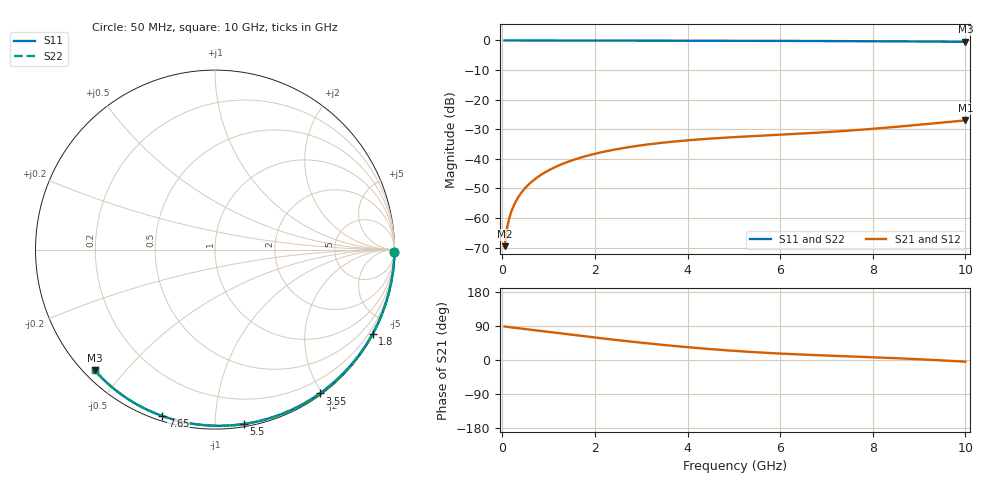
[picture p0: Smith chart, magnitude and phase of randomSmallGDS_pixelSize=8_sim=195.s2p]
! freq	dB(S11)	phase(S11)	dB(S12)	phase(S12)
!  dB(S21)	phase(S21)	dB(S22)	phase(S22)
!S-par simulation data
#  GHz  S  DB  R 50
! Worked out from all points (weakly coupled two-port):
!   200 points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, 50 MHz to 10 GHz, reference 50 ohm
!   highest |S21| = -27.00 dB at 10 GHz (marker M1); lowest = -69.5 dB at 50 MHz (marker M2)
!   lowest |S11| = -0.4 dB at 10 GHz (marker M3), VSWR 38.69, Z = 1.52 - j20.8 ohm
!   |S11| at or under -10 dB: nowhere
!   |S22| runs from -0.4 to 0.0 dB; largest |S21 - S12| = 0
!   S11 on the Smith chart (normalised r, x): 50 MHz: open; 1.8 GHz: 0.04, -4.01; 3.55 GHz: 0.02, -1.97; 5.5 GHz: 0.02, -1.18; 7.65 GHz: 0.02, -0.73; 10 GHz: 0.03, -0.42
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0.05  -0.00 -0.8  -69.50 88.7  -69.50 88.7  -0.00 -0.8
0.1  -0.00 -1.6  -63.54 87.6  -63.54 87.6  -0.00 -1.6
0.15  -0.00 -2.4  -60.07 86.7  -60.07 86.7  -0.00 -2.4
0.2  -0.00 -3.2  -57.62 85.9  -57.62 85.9  -0.00 -3.2
0.25  -0.00 -4.0  -55.71 85.2  -55.71 85.2  -0.00 -4.0
0.35  -0.00 -5.5  -52.83 83.8  -52.83 83.8  -0.00 -5.5
0.5  -0.01 -7.9  -49.77 81.6  -49.77 81.6  -0.01 -7.9
0.7  -0.01 -11.0  -46.90 78.6  -46.90 78.6  -0.01 -11.0
1  -0.02 -15.7  -43.88 74.1  -43.88 74.1  -0.02 -15.7
1.35  -0.03 -21.1  -41.40 68.9  -41.40 68.9  -0.03 -21.1
1.75  -0.03 -27.2  -39.32 62.9  -39.32 62.9  -0.03 -27.2
1.8  -0.04 -28.0  -39.10 62.2  -39.10 62.2  -0.04 -28.0
2.5  -0.05 -38.6  -36.65 52.3  -36.65 52.3  -0.05 -38.5
3.4  -0.07 -51.7  -34.65 40.7  -34.65 40.7  -0.07 -51.7
3.55  -0.07 -53.9  -34.40 38.9  -34.40 38.9  -0.07 -53.9
4.3  -0.09 -64.5  -33.37 30.7  -33.37 30.7  -0.09 -64.5
5.05  -0.12 -74.7  -32.62 23.8  -32.62 23.8  -0.11 -74.7
5.5  -0.13 -80.6  -32.25 20.3  -32.25 20.3  -0.13 -80.6
6.7  -0.18 -95.9  -31.25 13.2  -31.25 13.2  -0.18 -95.9
7.65  -0.24 -107.5  -30.27 8.8  -30.27 8.8  -0.24 -107.5
8.35  -0.29 -115.8  -29.39 5.5  -29.39 5.5  -0.29 -115.8
10  -0.45 -134.9  -27.00 -4.5  -27.00 -4.5  -0.45 -134.8
